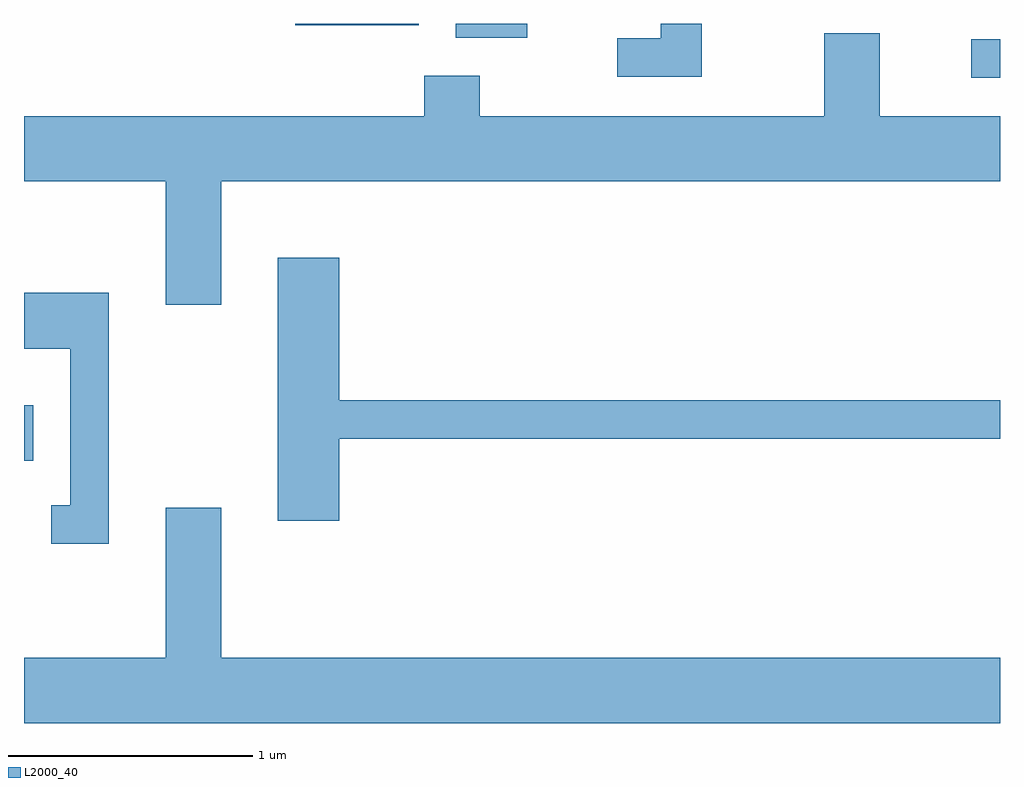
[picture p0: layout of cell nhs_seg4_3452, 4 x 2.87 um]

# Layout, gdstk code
import gdstk
lib = gdstk.Library(unit=1e-6, precision=1e-09)
def R(c, l, rs):  # rectangles x0, y0, x1, y1
    for r in rs: c.add(gdstk.rectangle(r[:2], r[2:], *l))
def P(c, l, *ps):  # polygons
    for p in ps: c.add(gdstk.Polygon(p, *l))
L2000_40 = (2000, 40)

nhs_seg4_3452 = lib.new_cell('nhs_seg4_3452')
R(nhs_seg4_3452, L2000_40, [(285.611,1360.191,285.649,1360.419), (289.493,1361.761,289.611,1361.919), (287.381,1361.926,287.674,1361.982), (286.723,1361.976,287.229,1361.982)])
P(nhs_seg4_3452, L2000_40, [(288.389,1361.982),(288.221,1361.982),(288.221,1361.924),(288.043,1361.924),(288.043,1361.766),(288.389,1361.766)],
  [(286.419,1361.336),(289.611,1361.336),(289.611,1361.604),(289.119,1361.604),(289.119,1361.944),(288.891,1361.944),(288.891,1361.604),(287.479,1361.604),(287.479,1361.769),(287.251,1361.769),(287.251,1361.604),(285.611,1361.604),(285.611,1361.336),(286.191,1361.336),(286.191,1360.831),(286.419,1360.831)],
  [(286.904,1360.281),(289.611,1360.281),(289.611,1360.439),(286.904,1360.439),(286.904,1361.024),(286.651,1361.024),(286.651,1359.946),(286.904,1359.946)],
  [(285.959,1360.879),(285.611,1360.879),(285.611,1360.651),(285.801,1360.651),(285.801,1360.009),(285.723,1360.009),(285.723,1359.851),(285.959,1359.851)],
  [(289.611,1359.384),(286.419,1359.384),(286.419,1359.999),(286.191,1359.999),(286.191,1359.384),(285.611,1359.384),(285.611,1359.116),(289.611,1359.116)])

lib.write_gds('nhs_seg4_3452.gds')
